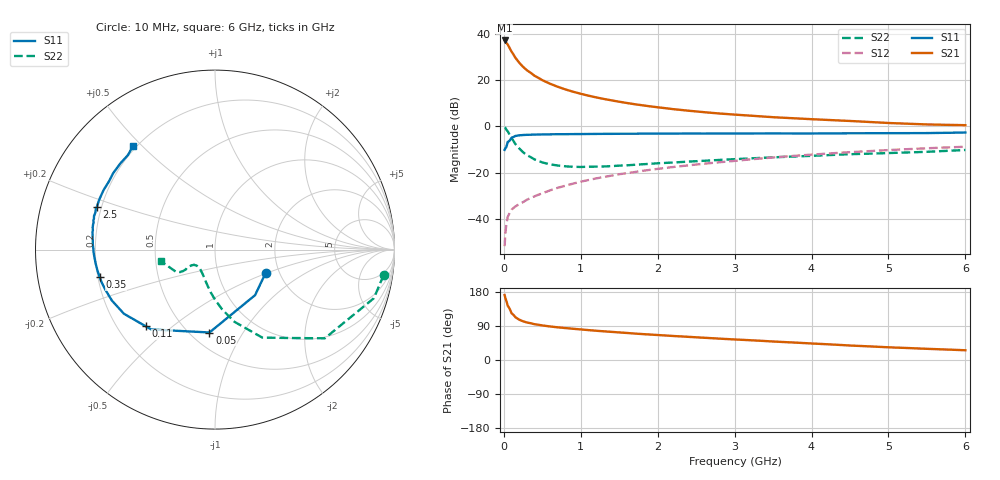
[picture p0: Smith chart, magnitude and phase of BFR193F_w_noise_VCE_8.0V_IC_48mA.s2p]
! (c) 2017  Infineon Technologies AG, Munich
! Infineon Technologies  Discrete & RF Semiconductors
! BFR193F
! VCE =  8.0 V,  IC =  48 mA
! Common Emitter S-Parameters:  Jan 2017
# GHz  S  MA  R  50
!  f  S11  S21  S12  S22
! GHz  MAG  ANG  MAG  ANG  MAG  ANG  MAG  ANG
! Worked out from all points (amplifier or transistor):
!   77 points, 10 MHz to 6 GHz, reference 50 ohm
!   highest |S21| = 37.1 dB at 10 MHz (marker M1)
!   |S21| within 3 dB of that: start of sweep to 70.66 MHz
!   unconditionally stable (mu >= 1): 951.1 MHz to 2.518 GHz
!   at 130 MHz: K = 0.45, MSG = 32.9 dB, |S12| = -35.1 dB
!   at 2.2 GHz: K = 1.01, MAG = 11.8 dB, |S12| = -17.5 dB
!   at 6 GHz: K = 0.85, MSG = 4.6 dB, |S12| = -8.8 dB
!   lowest NFmin = 1.45 dB at 450 MHz
!   S11 on the Smith chart (normalised r, x): 10 MHz: 1.70, -0.49; 50 MHz: 0.62, -0.72; 110 MHz: 0.32, -0.41; 350 MHz: 0.21, -0.11; 2.5 GHz: 0.18, +0.17; 6 GHz: 0.19, +0.47
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0.01  0.3108 -24.9  71.35 171.5  0.0026 86.9  0.9502 -8.6
0.02  0.3381 -48.7  68.71 163.3  0.005 77.6  0.9258 -17.0
0.05  0.4629 -93.8  58.38 143.6  0.0111 64.9  0.7867 -38.9
0.1  0.5692 -128.6  41.05 123.4  0.0159 53.7  0.5573 -61.7
0.11  0.5756 -132.0  38.8 121.8  0.0165 53.1  0.5273 -63.8
0.15  0.6206 -144.8  30.24 112.9  0.0187 51.2  0.4166 -74.9
0.2  0.6407 -153.7  23.62 106.4  0.021 52.3  0.3337 -83.4
0.25  0.6504 -159.9  19.24 102.1  0.0232 54.7  0.2762 -90.3
0.3  0.6574 -163.8  16.24 99.0  0.0261 57.2  0.2403 -95.6
0.35  0.6604 -166.7  14.27 97.0  0.0285 59.0  0.216 -99.5
0.4  0.665 -169.6  12.32 94.4  0.031 60.6  0.193 -104.3
0.5  0.6694 -173.3  9.928 91.2  0.036 63.8  0.1669 -111.3
0.6  0.6729 -176.2  8.321 88.5  0.0415 66.2  0.1512 -117.5
0.8  0.6779 179.5  6.268 84.3  0.0524 69.2  0.1373 -126.9
1.1  0.6847 174.6  4.592 78.9  0.0695 71.7  0.1343 -135.7
1.5  0.6926 169.8  3.4 72.8  0.0927 73.0  0.1421 -142.8
2.1  0.6986 163.7  2.466 64.7  0.1267 73.2  0.1628 -146.6
2.5  0.7006 160.3  2.1 59.9  0.1501 72.7  0.1771 -146.8
3.1  0.7024 155.3  1.748 53.2  0.1866 71.6  0.1997 -145.9
4.1  0.7034 146.6  1.403 42.6  0.2519 67.8  0.2349 -147.9
5.1  0.7132 136.8  1.165 32.7  0.3135 62.4  0.2686 -157.7
6  0.7362 128.4  1.06 25.7  0.3638 57.3  0.3094 -168.0
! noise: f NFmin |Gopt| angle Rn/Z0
0.45  1.45  0.46  -180  0.07
0.9  1.54  0.47  -179  0.07
1.9  2.11  0.6  -164  0.09
2.4  2.42  0.62  -156  0.14
